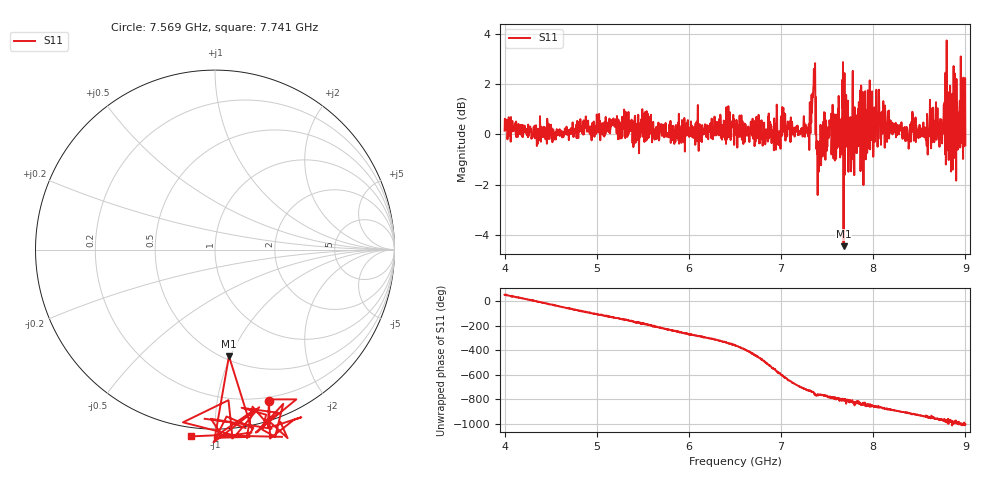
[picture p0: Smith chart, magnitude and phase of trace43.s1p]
! Created with skrf 1.8.0 (http://scikit-rf.org).
# Hz S RI R 50.0
!freq ReS11 ImS11
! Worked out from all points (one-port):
!   1601 points, 4 GHz to 9 GHz, reference 50 ohm
!   lowest |S11| = -4.5 dB at 7.678 GHz (marker M1), VSWR 3.99, Z = 26.6 - j49.4 ohm
!   |S11| at or under -10 dB: nowhere
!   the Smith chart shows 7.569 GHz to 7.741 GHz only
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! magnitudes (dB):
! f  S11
! 4 GHz  0.1
! 4.625 GHz  -0.1
! 5.25 GHz  -0.2
! 5.875 GHz  -0.1
! 6.5 GHz  0.4
! 7.125 GHz  0.1
! 7.294 GHz  -0.1
! 7.347 GHz  1.5
! 7.366 GHz  2.4
! 7.4 GHz  -0.3
! 7.409 GHz  -1.5
! 7.538 GHz  0.5
! 7.591 GHz  0.4
! 7.647 GHz  0.6
! 7.659 GHz  -0.8
! 7.678 GHz  -4.5
! 7.688 GHz  2.4
! 7.75 GHz  -0.3
! 8.053 GHz  0.8
! 8.375 GHz  0.0
! 8.441 GHz  -0.2
! 8.734 GHz  0.3
! 8.788 GHz  -1.2
! 8.844 GHz  -1.5
! 8.859 GHz  1.6
! 8.919 GHz  -0.4
! 8.956 GHz  -0.3
! 9 GHz  -0.4
